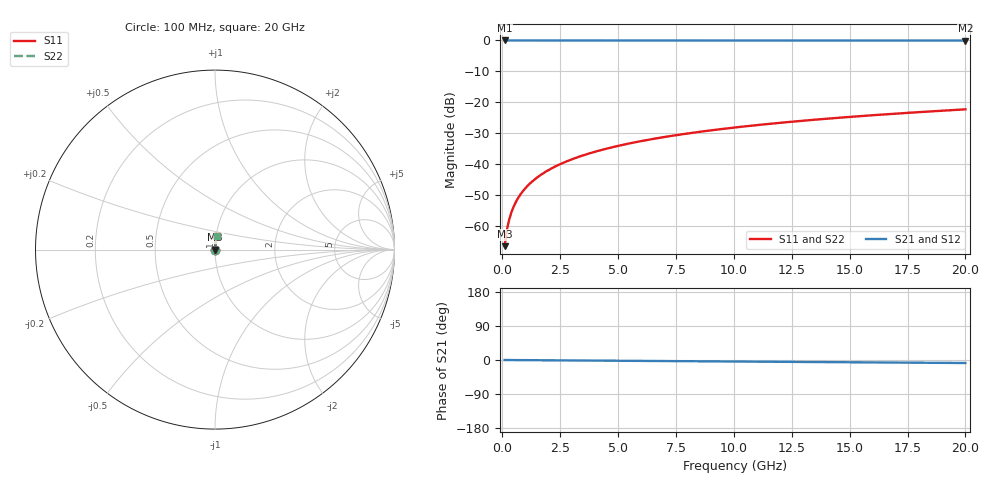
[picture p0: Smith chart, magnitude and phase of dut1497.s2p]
! Touchstone file exported from HFSS 2026.1.0
!  File:  C:/ffzhzh/LocalFiles/Ansys_Project_Files/temp_train_TSV_1497_1783198926_18472.aedt
!  Generated:  05:03:55 AM Jul  5, 2026
!  Design:  TSV
!  Project:  temp_train_TSV_1497_1783198926_18472
! Variables:
!  h_bsmrdl = 2um
!  h_ox = 20um
!  h_rdl = 5um
!  h_sub = 56.93um
!  h_tmrdl = 5um
!  h_tsv = 56.93um
!  h_via = 3um
!  l_bsmrdl = 300um
!  l_sub = 412.22um
!  l_tmrdl = 200um
!  m_sub = 200um
!  pitch = 59.08um
!  r_tsv = 6.11um
!  s_tmrdl = 10um
!  w_bsmrdl = 18um
!  w_sub = 500um
!  w_tmrdl = 12um
!  x_tsv_center1 = 206um
!  x_tsv_center2 = 524um
!  x_tsv_center3 = 736um
!  x_tsv_center4 = 1054um
!  x_tsv_center5 = 1266um
!  x_tsv_center6 = 1584um
# GHz S MA R 50.000000
! Terminal data exported
! Port[1] = TSV1_1_T1
! Port[2] = TSV1_1_T2
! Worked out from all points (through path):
!   200 points, 100 MHz to 20 GHz, reference 50 ohm
!   highest |S21| = 0.00 dB at 100 MHz (marker M1); lowest = 0.0 dB at 20 GHz (marker M2)
!   group delay of S21, straight-line fit = 1.1 ps
!   lowest |S11| = -66.6 dB at 100 MHz (marker M3), VSWR 1.00, Z = 50 + j0.0419 ohm
!   |S11| at or under -10 dB: start of sweep to end of sweep
!   |S22| runs from -66.6 to -22.3 dB; largest |S21 - S12| = 5.7e-15
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0.1  0.0004678 63.4  0.9998 -0.0  0.9998 -0.0  0.0004678 63.4
! Gamma 0 0 0 0
! Port Impedance 50 0 50 0
0.2  0.000863 75.4  0.9998 -0.1  0.9998 -0.1  0.000863 75.4
0.3  0.00127 79.5  0.9998 -0.1  0.9998 -0.1  0.00127 79.5
0.4  0.001676 81.5  0.9998 -0.2  0.9998 -0.2  0.001676 81.5
0.5  0.002081 82.6  0.9997 -0.2  0.9997 -0.2  0.002081 82.6
0.6  0.002483 83.4  0.9997 -0.2  0.9997 -0.2  0.002483 83.4
0.7  0.002882 83.9  0.9997 -0.3  0.9997 -0.3  0.002882 83.9
0.8  0.003279 84.3  0.9997 -0.3  0.9997 -0.3  0.003279 84.3
1  0.004069 84.9  0.9997 -0.4  0.9997 -0.4  0.004069 84.9
1.4  0.005642 85.6  0.9996 -0.6  0.9996 -0.6  0.005642 85.6
1.7  0.006818 85.9  0.9996 -0.7  0.9996 -0.7  0.006818 85.9
2  0.007993 86.1  0.9995 -0.8  0.9995 -0.8  0.007993 86.1
2.7  0.01073 86.3  0.9995 -1.1  0.9995 -1.1  0.01073 86.3
3.5  0.01384 86.3  0.9993 -1.4  0.9993 -1.4  0.01384 86.3
4.2  0.01656 86.2  0.9993 -1.7  0.9993 -1.7  0.01656 86.2
5  0.01965 86.0  0.9991 -2.0  0.9991 -2.0  0.01965 86.0
6.8  0.02658 85.6  0.9989 -2.7  0.9989 -2.7  0.02658 85.6
8.3  0.03233 85.1  0.9986 -3.3  0.9986 -3.3  0.03233 85.1
10.1  0.03921 84.6  0.9983 -4.0  0.9983 -4.0  0.03921 84.6
13.4  0.05177 83.5  0.9976 -5.3  0.9976 -5.3  0.05177 83.5
16.7  0.06427 82.3  0.9967 -6.6  0.9967 -6.6  0.06427 82.3
20  0.07668 81.1  0.9957 -7.9  0.9957 -7.9  0.07668 81.1
